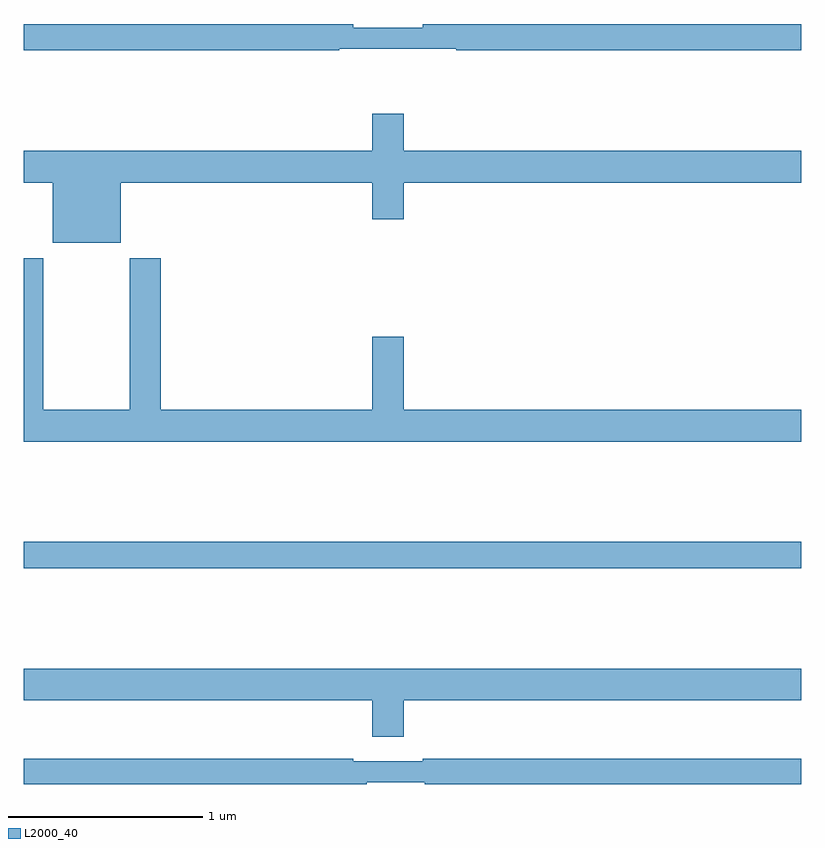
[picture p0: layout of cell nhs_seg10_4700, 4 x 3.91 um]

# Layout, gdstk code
import gdstk
lib = gdstk.Library(unit=1e-6, precision=1e-09)
def R(c, l, rs):  # rectangles x0, y0, x1, y1
    for r in rs: c.add(gdstk.rectangle(r[:2], r[2:], *l))
def P(c, l, *ps):  # polygons
    for p in ps: c.add(gdstk.Polygon(p, *l))
L2000_40 = (2000, 40)

nhs_seg10_4700 = lib.new_cell('nhs_seg10_4700')
R(nhs_seg10_4700, L2000_40, [(379,1323.64,383,1323.776)])
P(nhs_seg10_4700, L2000_40, [(380.624,1326.312),(381.224,1326.312),(381.224,1326.304),(383,1326.304),(383,1326.44),(381.052,1326.44),(381.052,1326.421),(380.696,1326.421),(380.696,1326.44),(379,1326.44),(379,1326.304),(380.624,1326.304)],
  [(379.498,1325.624),(380.792,1325.624),(380.792,1325.436),(380.956,1325.436),(380.956,1325.624),(383,1325.624),(383,1325.788),(380.956,1325.788),(380.956,1325.977),(380.792,1325.977),(380.792,1325.788),(379,1325.788),(379,1325.624),(379.148,1325.624),(379.148,1325.315),(379.498,1325.315)],
  [(383,1324.456),(380.956,1324.456),(380.956,1324.831),(380.792,1324.831),(380.792,1324.456),(379.706,1324.456),(379.706,1325.236),(379.546,1325.236),(379.546,1324.456),(379.101,1324.456),(379.101,1325.236),(379,1325.236),(379,1324.292),(383,1324.292)],
  [(380.956,1322.96),(383,1322.96),(383,1323.124),(379,1323.124),(379,1322.96),(380.792,1322.96),(380.792,1322.772),(380.956,1322.772)],
  [(380.764,1322.538),(381.064,1322.538),(381.064,1322.53),(383,1322.53),(383,1322.659),(381.052,1322.659),(381.052,1322.646),(380.696,1322.646),(380.696,1322.659),(379,1322.659),(379,1322.53),(380.764,1322.53)])

lib.write_gds('nhs_seg10_4700.gds')
